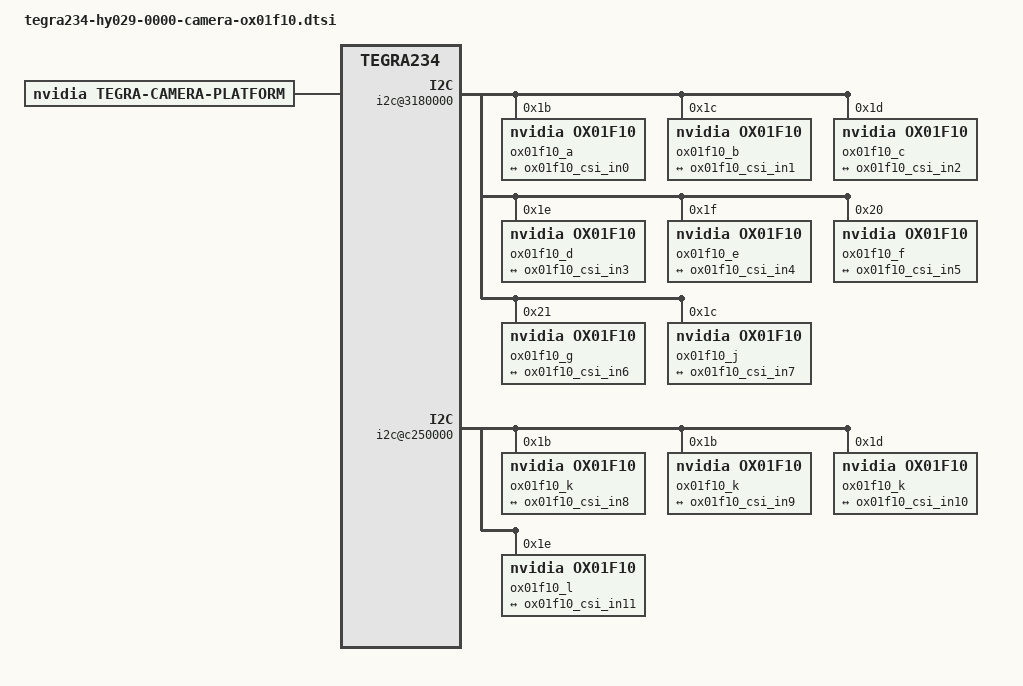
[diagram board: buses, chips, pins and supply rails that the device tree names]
/*
 * Copyright (c) 2018, NVIDIA CORPORATION.  All rights reserved.
 *
 * This program is free software; you can redistribute it and/or modify
 * it under the terms of the GNU General Public License as published by
 * the Free Software Foundation; either version 2 of the License, or
 * (at your option) any later version.
 *
 * This program is distributed in the hope that it will be useful, but WITHOUT
 * ANY WARRANTY; without even the implied warranty of MERCHANTABILITY or
 * FITNESS FOR A PARTICULAR PURPOSE.  See the GNU General Public License for
 * more details.
 *
 * You should have received a copy of the GNU General Public License
 * along with this program.  If not, see <http://www.gnu.org/licenses/>.
 */



/ {
		tegra-capture-vi {
			num-channels = <12>;
			ports {
				#address-cells = <1>;
				#size-cells = <0>;
            #if 1
				port@0 {
					reg = <0>;
					ox01f10_vi_in0: endpoint {
						devnode = "video1";
						vc-id = <0>;
						port-index = <0>;
						bus-width = <4>;
						remote-endpoint = <&ox01f10_csi_out0>;
					};
				};
				port@1 {
					reg = <1>;
					ox01f10_vi_in1: endpoint {
						devnode = "video0";
						vc-id = <1>;
						port-index = <0>;
						bus-width = <4>;
						remote-endpoint = <&ox01f10_csi_out1>;
					};
				};
				port@2 {
					reg = <2>;
					ox01f10_vi_in2: endpoint {
						devnode = "video3";
						vc-id = <2>;
						port-index = <0>;
						bus-width = <4>;
						remote-endpoint = <&ox01f10_csi_out2>;
					};
				};
				port@3 {
					reg = <3>;
					ox01f10_vi_in3: endpoint {
						devnode = "video2";
						vc-id = <3>;
						port-index = <0>;
						bus-width = <4>;
						remote-endpoint = <&ox01f10_csi_out3>;
					};
				};
            #endif
            #if 1
				port@4 {
					reg = <4>;
					ox01f10_vi_in4: endpoint {
						devnode = "video9";
						vc-id = <0>;
						port-index = <2>;
						bus-width = <4>;
						remote-endpoint = <&ox01f10_csi_out4>;
					};
				};
				port@5 {
					reg = <5>;
					ox01f10_vi_in5: endpoint {
						devnode = "video8";
						vc-id = <1>;
						port-index = <2>;
						bus-width = <4>;
						remote-endpoint = <&ox01f10_csi_out5>;
					};
				};	
				port@6 {
					reg = <6>;
					ox01f10_vi_in6: endpoint {
						devnode = "video11";
						vc-id = <2>;
						port-index = <2>;
						bus-width = <4>;
						remote-endpoint = <&ox01f10_csi_out6>;
					};
				};
				port@7 {
					reg = <7>;
					ox01f10_vi_in7: endpoint {
						devnode = "video10";
						vc-id = <3>;
						port-index = <2>;
						bus-width = <4>;
						remote-endpoint = <&ox01f10_csi_out7>;
					};
				};
				port@8 {
					reg = <8>;
					ox01f10_vi_in8: endpoint {
						devnode = "video5";
						vc-id = <0>;
						port-index = <4>;
						bus-width = <4>;
						remote-endpoint = <&ox01f10_csi_out8>;
					};
				};
				port@9 {
					reg = <9>;
					ox01f10_vi_in9: endpoint {
						devnode = "video4";
						vc-id = <1>;
						port-index = <4>;
						bus-width = <4>;
						remote-endpoint = <&ox01f10_csi_out9>;
					};
				};
				port@a {
					reg = <0xa>;
					ox01f10_vi_in10: endpoint {
						devnode = "video7";
						vc-id = <2>;
						port-index = <4>;
						bus-width = <4>;
						remote-endpoint = <&ox01f10_csi_out10>;
					};
				};
				port@b {
					reg = <0xb>;
					ox01f10_vi_in11: endpoint {
						devnode = "video6";
						vc-id = <3>;
						port-index = <4>;
						bus-width = <4>;
						remote-endpoint = <&ox01f10_csi_out11>;
					};
				};
            #endif
			};
		};

	host1x@13e00000 {
		nvcsi@15a00000 {
			num-channels = <12>;
			#address-cells = <1>;
			#size-cells = <0>;
        #if 1
			channel@0 {
				reg = <0>;
				ports {
					#address-cells = <1>;
					#size-cells = <0>;
					port@0 {
						reg = <0>;
						ox01f10_csi_in0: endpoint@0 {
							port-index = <0>;
							bus-width = <4>;
							remote-endpoint = <&ox01f10_ox01f10_out0>;
						};
					};

					port@1 {
						reg = <1>;
						ox01f10_csi_out0: endpoint@1 {
							remote-endpoint = <&ox01f10_vi_in0>;
						};
					};

				};
			};
			channel@1 {
				reg = <1>;
				ports {
					#address-cells = <1>;
					#size-cells = <0>;
					port@0 {
						reg = <0>;
						ox01f10_csi_in1: endpoint@2 {
							port-index = <0>;
							bus-width = <4>;
							remote-endpoint = <&ox01f10_ox01f10_out1>;
						};
					};
					port@1 {
						reg = <1>;
						ox01f10_csi_out1: endpoint@3 {
							remote-endpoint = <&ox01f10_vi_in1>;
						};
					};
				};
			};
			channel@2 {
				reg = <2>;
				ports {
					#address-cells = <1>;
					#size-cells = <0>;
					port@0 {
						reg = <0>;
						ox01f10_csi_in2: endpoint@4 {
							port-index = <0>;
							bus-width = <4>;
							remote-endpoint = <&ox01f10_ox01f10_out2>;
						};
					};
					port@1 {
						reg = <1>;
						ox01f10_csi_out2: endpoint@5 {
							remote-endpoint = <&ox01f10_vi_in2>;
						};
					};
				};
			};
			channel@3 {
				reg = <3>;
				ports {
					#address-cells = <1>;
					#size-cells = <0>;
					port@0 {
						reg = <0>;
						ox01f10_csi_in3: endpoint@6 {
							port-index = <0>;
							bus-width = <4>;
							remote-endpoint = <&ox01f10_ox01f10_out3>;
						};
					};
					port@1 {
						reg = <1>;
						ox01f10_csi_out3: endpoint@7 {
							remote-endpoint = <&ox01f10_vi_in3>;
						};
					};
				};
			};
        #endif
        #if 1
			channel@4 {
				reg = <4>;
				ports {
					#address-cells = <1>;
					#size-cells = <0>;
					port@0 {
						reg = <0>;
						ox01f10_csi_in4: endpoint@8 {
							port-index = <2>;
							bus-width = <4>;
							remote-endpoint = <&ox01f10_ox01f10_out4>;
						};
					};

					port@1 {
						reg = <1>;
						ox01f10_csi_out4: endpoint@9 {
							remote-endpoint = <&ox01f10_vi_in4>;
						};
					};

				};
			};
			channel@5 {
				reg = <5>;
				ports {
					#address-cells = <1>;
					#size-cells = <0>;
					port@0 {
						reg = <0>;
						ox01f10_csi_in5: endpoint@10 {
							port-index = <2>;
							bus-width = <4>;
							remote-endpoint = <&ox01f10_ox01f10_out5>;
						};
					};
					port@1 {
						reg = <1>;
						ox01f10_csi_out5: endpoint@11 {
							remote-endpoint = <&ox01f10_vi_in5>;
						};
					};
				};
			};
			channel@6 {
				reg = <6>;
				ports {
					#address-cells = <1>;
					#size-cells = <0>;
					port@0 {
						reg = <0>;
						ox01f10_csi_in6: endpoint@12 {
							port-index = <2>;
							bus-width = <4>;
							remote-endpoint = <&ox01f10_ox01f10_out6>;
						};
					};
					port@1 {
						reg = <1>;
						ox01f10_csi_out6: endpoint@13 {
							remote-endpoint = <&ox01f10_vi_in6>;
						};
					};
				};
			};
			channel@7 {
				reg = <7>;
				ports {
					#address-cells = <1>;
					#size-cells = <0>;
					port@0 {
						reg = <0>;
						ox01f10_csi_in7: endpoint@14 {
							port-index = <2>;
							bus-width = <4>;
							remote-endpoint = <&ox01f10_ox01f10_out7>;
						};
					};
					port@1 {
						reg = <1>;
						ox01f10_csi_out7: endpoint@15 {
							remote-endpoint = <&ox01f10_vi_in7>;
						};
					};
				};
			};
			channel@8 {
				reg = <8>;
				ports {
					#address-cells = <1>;
					#size-cells = <0>;
					port@0 {
						reg = <0>;
						ox01f10_csi_in8: endpoint@16 {
							port-index = <4>;
							bus-width = <4>;
							remote-endpoint = <&ox01f10_ox01f10_out8>;
						};
					};
					port@1 {
						reg = <1>;
						ox01f10_csi_out8: endpoint@17 {
							remote-endpoint = <&ox01f10_vi_in8>;
						};
					};
				};
			};
			channel@9 {
				reg = <9>;
				ports {
					#address-cells = <1>;
					#size-cells = <0>;
					port@0 {
						reg = <0>;
						ox01f10_csi_in9: endpoint@18 {
							port-index = <4>;
							bus-width = <4>;
							remote-endpoint = <&ox01f10_ox01f10_out9>;
						};
					};
					port@1 {
						reg = <1>;
						ox01f10_csi_out9: endpoint@19 {
							remote-endpoint = <&ox01f10_vi_in9>;
						};
					};
				};
			};
			channel@a {
				reg = <0xa>;
				ports {
					#address-cells = <1>;
					#size-cells = <0>;
					port@0 {
						reg = <0>;
						ox01f10_csi_in10: endpoint@20 {
							port-index = <4>;
							bus-width = <4>;
							remote-endpoint = <&ox01f10_ox01f10_out10>;
						};
					};
					port@1 {
						reg = <1>;
						ox01f10_csi_out10: endpoint@21 {
							remote-endpoint = <&ox01f10_vi_in10>;
						};
					};
				};
			};
			channel@b {
				reg = <0xb>;
				ports {
					#address-cells = <1>;
					#size-cells = <0>;
					port@0 {
						reg = <0>;
						ox01f10_csi_in11: endpoint@22 {
							port-index = <4>;
							bus-width = <4>;
							remote-endpoint = <&ox01f10_ox01f10_out11>;
						};
					};
					port@1 {
						reg = <1>;
						ox01f10_csi_out11: endpoint@23 {
							remote-endpoint = <&ox01f10_vi_in11>;
						};
					};
				};
			};
        #endif
		};

	};

	i2c@3180000 {

			ox01f10_a@1b {
				compatible = "nvidia,ox01f10";
				reg = <0x1b>;
				physical_w = "15.0";
				physical_h = "12.5";
				sensor_model ="ox01f10";
				post_crop_frame_drop = "0";
				use_decibel_gain = "true";
				delayed_gain = "true";
				//use_sensor_mode_id = "true";
				mode0 {
					mclk_khz = "27000";
					num_lanes = "4";
					phy_mode = "DPHY";
					tegra_sinterface = "serial_a";
					vc_id = "0";
					discontinuous_clk = "no";
					dpcm_enable = "false";
					cil_settletime = "0";
					mode_type = "yuv";
					pixel_phase = "yuyv";
					csi_pixel_bit_depth = "16";
					active_w = "1280";
					active_h = "960";
					//pixel_t = "yuv_yuyv16";
					readout_orientation = "0";
					line_length = "4400";
					inherent_gain = "1";
					pix_clk_hz = "148500000";
					serdes_pix_clk_hz = "150000000";
					min_framerate = "30";
					max_framerate = "30";
				};
				ports {
					#address-cells = <1>;
					#size-cells = <0>;
					port@0 {
						reg = <0>;
						ox01f10_ox01f10_out0: endpoint {
							vc-id = <0>;
							port-index = <0>;
							bus-width = <4>;
							remote-endpoint = <&ox01f10_csi_in0>;
							};
						};
					};
				gmsl-link {
					src-csi-port = "b";
					dst-csi-port = "b";
					serdes-csi-link = "a";
					csi-mode = "1x4";
					st-vc = <0>;
					vc-id = <0>;
					num-lanes = <4>;
					streams = "yuv422-8";
					};
				};
			ox01f10_b@1c {
				compatible = "nvidia,ox01f10";
				reg = <0x1c>;
				physical_w = "15.0";
				physical_h = "12.5";
				sensor_model ="ox01f10";
				post_crop_frame_drop = "0";
				use_decibel_gain = "true";
				delayed_gain = "true";
				//use_sensor_mode_id = "true";
				mode0 {
					mclk_khz = "27000";
					num_lanes = "4";
					phy_mode = "DPHY";
					tegra_sinterface = "serial_a";
					vc_id = "1";
					discontinuous_clk = "no";
					dpcm_enable = "false";
					cil_settletime = "0";
					mode_type = "yuv";
					pixel_phase = "yuyv";
					csi_pixel_bit_depth = "16";
					active_w = "1280";
					active_h = "960";
					//pixel_t = "yuv_yuyv16";
					readout_orientation = "0";
					line_length = "4400";
					inherent_gain = "1";
					pix_clk_hz = "148500000";
					serdes_pix_clk_hz = "150000000";
					min_framerate = "30";
					max_framerate = "30";
				};
				ports {
					#address-cells = <1>;
					#size-cells = <0>;
					port@0 {
						reg = <0>;
						ox01f10_ox01f10_out1: endpoint {
							vc-id = <1>;
							port-index = <0>;
							bus-width = <4>;
							remote-endpoint = <&ox01f10_csi_in1>;
							};
						};
					};
				gmsl-link {
					src-csi-port = "b";
					dst-csi-port = "b";
					serdes-csi-link = "b";
					csi-mode = "1x4";
					st-vc = <0>;
					vc-id = <1>;
					num-lanes = <4>;
					streams = "yuv422-8";
					};
				};

			ox01f10_c@1d {
				compatible = "nvidia,ox01f10";
				reg = <0x1d>;
				physical_w = "15.0";
				physical_h = "12.5";
				sensor_model ="ox01f10";
				post_crop_frame_drop = "0";
				use_decibel_gain = "true";
				delayed_gain = "true";
				//use_sensor_mode_id = "true";
				mode0 {
					mclk_khz = "27000";
					num_lanes = "4";
					phy_mode = "DPHY";
					tegra_sinterface = "serial_a";
					vc_id = "2";
					discontinuous_clk = "no";
					dpcm_enable = "false";
					cil_settletime = "0";
					mode_type = "yuv";
					pixel_phase = "yuyv";
					csi_pixel_bit_depth = "16";
					active_w = "1280";
					active_h = "960";
					//pixel_t = "yuv_yuyv16";
					readout_orientation = "0";
					line_length = "4400";
					inherent_gain = "1";
					pix_clk_hz = "148500000";
					serdes_pix_clk_hz = "150000000";
					min_framerate = "30";
					max_framerate = "30";
				};
				ports {
					#address-cells = <1>;
					#size-cells = <0>;
					port@0 {
						reg = <0>;
						ox01f10_ox01f10_out2: endpoint {
							vc-id = <2>;
							port-index = <0>;
							bus-width = <4>;
							remote-endpoint = <&ox01f10_csi_in2>;
							};
						};
					};
				gmsl-link {
					src-csi-port = "b";
					dst-csi-port = "b";
					serdes-csi-link = "c";
					csi-mode = "1x4";
					st-vc = <0>;
					vc-id = <2>;
					num-lanes = <4>;
					streams = "yuv422-8";
					};
				};

			ox01f10_d@1e{
				compatible = "nvidia,ox01f10";
				reg = <0x1e>;
				physical_w = "15.0";
				physical_h = "12.5";
				sensor_model ="ox01f10";
				post_crop_frame_drop = "0";
				use_decibel_gain = "true";
				delayed_gain = "true";
				//use_sensor_mode_id = "true";
				mode0 {
					mclk_khz = "27000";
					num_lanes = "4";
					phy_mode = "DPHY";
					tegra_sinterface = "serial_a";
					vc_id = "3";
					discontinuous_clk = "no";
					dpcm_enable = "false";
					cil_settletime = "0";
					mode_type = "yuv";
					pixel_phase = "yuyv";
					csi_pixel_bit_depth = "16";
					active_w = "1280";
					active_h = "960";
					//pixel_t = "yuv_yuyv16";
					readout_orientation = "0";
					line_length = "4400";
					inherent_gain = "1";
					pix_clk_hz = "148500000";
					serdes_pix_clk_hz = "150000000";
					min_framerate = "30";
					max_framerate = "30";
				};
				ports {
					#address-cells = <1>;
					#size-cells = <0>;
					port@0 {
						reg = <0>;
						ox01f10_ox01f10_out3: endpoint {
							vc-id = <3>;
							port-index = <0>;
							bus-width = <4>;
							remote-endpoint = <&ox01f10_csi_in3>;
							};
						};
					};
				gmsl-link {
					src-csi-port = "b";
					dst-csi-port = "b";
					serdes-csi-link = "d";
					csi-mode = "1x4";
					st-vc = <0>;
					vc-id = <3>;
					num-lanes = <4>;
					streams = "yuv422-8";
					};
				};
	};
    #if 1
	i2c@3180000 {
			ox01f10_e@1f {
				compatible = "nvidia,ox01f10";
				reg = <0x1f>;
				physical_w = "15.0";
				physical_h = "12.5";
				sensor_model ="ox01f10";
				post_crop_frame_drop = "0";
				use_decibel_gain = "true";
				delayed_gain = "true";
				//use_sensor_mode_id = "true";
				mode0 {
					mclk_khz = "27000";
					num_lanes = "4";
					phy_mode = "DPHY";
					tegra_sinterface = "serial_c";
					vc_id = "0";
					discontinuous_clk = "no";
					dpcm_enable = "false";
					cil_settletime = "0";
					mode_type = "yuv";
					pixel_phase = "yuyv";
					csi_pixel_bit_depth = "16";
					active_w = "1280";
					active_h = "960";
					//pixel_t = "yuv_yuyv16";
					readout_orientation = "0";
					line_length = "4400";
					inherent_gain = "1";
					pix_clk_hz = "148500000";
					serdes_pix_clk_hz = "150000000";
					min_framerate = "30";
					max_framerate = "30";
				};
				ports {
					#address-cells = <1>;
					#size-cells = <0>;
					port@0 {
						reg = <0>;
						ox01f10_ox01f10_out4: endpoint {
							vc-id = <0>;
							port-index = <2>;
							bus-width = <4>;
							remote-endpoint = <&ox01f10_csi_in4>;
							};
						};
					};
				gmsl-link {
					src-csi-port = "b";
					dst-csi-port = "b";
					serdes-csi-link = "a";
					csi-mode = "1x4";
					st-vc = <0>;
					vc-id = <0>;
					num-lanes = <4>;
					streams = "yuv422-8";
					};
				};
			ox01f10_f@20 {
				compatible = "nvidia,ox01f10";
				reg = <0x20>;
				physical_w = "15.0";
				physical_h = "12.5";
				sensor_model ="ox01f10";
				post_crop_frame_drop = "0";
				use_decibel_gain = "true";
				delayed_gain = "true";
				//use_sensor_mode_id = "true";
				mode0 {
					mclk_khz = "27000";
					num_lanes = "4";
					phy_mode = "DPHY";
					tegra_sinterface = "serial_c";
					vc_id = "1";
					discontinuous_clk = "no";
					dpcm_enable = "false";
					cil_settletime = "0";
					mode_type = "yuv";
					pixel_phase = "yuyv";
					csi_pixel_bit_depth = "16";
					active_w = "1280";
					active_h = "960";
					//pixel_t = "yuv_yuyv16";
					readout_orientation = "0";
					line_length = "4400";
					inherent_gain = "1";
					pix_clk_hz = "148500000";
					serdes_pix_clk_hz = "150000000";
					min_framerate = "30";
					max_framerate = "30";
				};
				ports {
					#address-cells = <1>;
					#size-cells = <0>;
					port@0 {
						reg = <0>;
						ox01f10_ox01f10_out5: endpoint {
							vc-id = <1>;
							port-index = <2>;
							bus-width = <4>;
							remote-endpoint = <&ox01f10_csi_in5>;
							};
						};
					};
				gmsl-link {
					src-csi-port = "b";
					dst-csi-port = "b";
					serdes-csi-link = "b";
					csi-mode = "1x4";
					st-vc = <0>;
					vc-id = <1>;
					num-lanes = <4>;
					streams = "yuv422-8";
					};
				};

			ox01f10_g@21 {
				compatible = "nvidia,ox01f10";
				reg = <0x21>;
				physical_w = "15.0";
				physical_h = "12.5";
				sensor_model ="ox01f10";
				post_crop_frame_drop = "0";
				use_decibel_gain = "true";
				delayed_gain = "true";
				//use_sensor_mode_id = "true";
				mode0 {
					mclk_khz = "27000";
					num_lanes = "4";
					phy_mode = "DPHY";
					tegra_sinterface = "serial_c";
					vc_id = "2";
					discontinuous_clk = "no";
					dpcm_enable = "false";
					cil_settletime = "0";
					mode_type = "yuv";
					pixel_phase = "yuyv";
					csi_pixel_bit_depth = "16";
					active_w = "1280";
					active_h = "960";
					//pixel_t = "yuv_yuyv16";
					readout_orientation = "0";
					line_length = "4400";
					inherent_gain = "1";
					pix_clk_hz = "148500000";
					serdes_pix_clk_hz = "150000000";
					min_framerate = "30";
					max_framerate = "30";
				};
				ports {
					#address-cells = <1>;
					#size-cells = <0>;
					port@0 {
						reg = <0>;
						ox01f10_ox01f10_out6: endpoint {
							vc-id = <2>;
							port-index = <2>;
							bus-width = <4>;
							remote-endpoint = <&ox01f10_csi_in6>;
							};
						};
					};
				gmsl-link {
					src-csi-port = "b";
					dst-csi-port = "b";
					serdes-csi-link = "c";
					csi-mode = "1x4";
					st-vc = <0>;
					vc-id = <2>;
					num-lanes = <4>;
					streams = "yuv422-8";
					};
				};

			ox01f10_j@22{
				compatible = "nvidia,ox01f10";
				reg = <0x1c>;
				physical_w = "15.0";
				physical_h = "12.5";
				sensor_model ="ox01f10";
				post_crop_frame_drop = "0";
				use_decibel_gain = "true";
				delayed_gain = "true";
				//use_sensor_mode_id = "true";
				mode0 {
					mclk_khz = "27000";
					num_lanes = "4";
					phy_mode = "DPHY";
					tegra_sinterface = "serial_c";
					vc_id = "3";
					discontinuous_clk = "no";
					dpcm_enable = "false";
					cil_settletime = "0";
					mode_type = "yuv";
					pixel_phase = "yuyv";
					csi_pixel_bit_depth = "16";
					active_w = "1280";
					active_h = "960";
					//pixel_t = "yuv_yuyv16";
					readout_orientation = "0";
					line_length = "4400";
					inherent_gain = "1";
					pix_clk_hz = "148500000";
					serdes_pix_clk_hz = "150000000";
					min_framerate = "30";
					max_framerate = "30";
				};
				ports {
					#address-cells = <1>;
					#size-cells = <0>;
					port@0 {
						reg = <0>;
						ox01f10_ox01f10_out7: endpoint {
							vc-id = <3>;
							port-index = <2>;
							bus-width = <4>;
							remote-endpoint = <&ox01f10_csi_in7>;
							};
						};
					};
				gmsl-link {
					src-csi-port = "b";
					dst-csi-port = "b";
					serdes-csi-link = "d";
					csi-mode = "1x4";
					st-vc = <0>;
					vc-id = <3>;
					num-lanes = <4>;
					streams = "yuv422-8";
					};
				};
	};
	i2c@c250000 {
			ox01f10_k@1b{
				compatible = "nvidia,ox01f10";
				reg = <0x1b>;
				physical_w = "15.0";
				physical_h = "12.5";
				sensor_model ="ox01f10";
				post_crop_frame_drop = "0";
				use_decibel_gain = "true";
				delayed_gain = "true";
				//use_sensor_mode_id = "true";
				mode0 {
					mclk_khz = "27000";
					num_lanes = "4";
					phy_mode = "DPHY";
					tegra_sinterface = "serial_e";
					vc_id = "0";
					discontinuous_clk = "no";
					dpcm_enable = "false";
					cil_settletime = "0";
					mode_type = "yuv";
					pixel_phase = "yuyv";
					csi_pixel_bit_depth = "16";
					active_w = "1280";
					active_h = "960";
					//pixel_t = "yuv_yuyv16";
					readout_orientation = "0";
					line_length = "4400";
					inherent_gain = "1";
					pix_clk_hz = "148500000";
					serdes_pix_clk_hz = "150000000";
					min_framerate = "30";
					max_framerate = "30";
				};
				ports {
					#address-cells = <1>;
					#size-cells = <0>;
					port@0 {
						reg = <0>;
						ox01f10_ox01f10_out8: endpoint {
							vc-id = <0>;
							port-index = <4>;
							bus-width = <4>;
							remote-endpoint = <&ox01f10_csi_in8>;
							};
						};
					};
				gmsl-link {
					src-csi-port = "b";
					dst-csi-port = "b";
					serdes-csi-link = "a";
					csi-mode = "1x4";
					st-vc = <0>;
					vc-id = <0>;
					num-lanes = <4>;
					streams = "yuv422-8";
					};
				};
			ox01f10_k@1c{
				compatible = "nvidia,ox01f10";
				reg = <0x1b>;
				physical_w = "15.0";
				physical_h = "12.5";
				sensor_model ="ox01f10";
				post_crop_frame_drop = "0";
				use_decibel_gain = "true";
				delayed_gain = "true";
				//use_sensor_mode_id = "true";
				mode0 {
					mclk_khz = "27000";
					num_lanes = "4";
					phy_mode = "DPHY";
					tegra_sinterface = "serial_e";
					vc_id = "1";
					discontinuous_clk = "no";
					dpcm_enable = "false";
					cil_settletime = "0";
					mode_type = "yuv";
					pixel_phase = "yuyv";
					csi_pixel_bit_depth = "16";
					active_w = "1280";
					active_h = "960";
					//pixel_t = "yuv_yuyv16";
					readout_orientation = "0";
					line_length = "4400";
					inherent_gain = "1";
					pix_clk_hz = "148500000";
					serdes_pix_clk_hz = "150000000";
					min_framerate = "30";
					max_framerate = "30";
				};
				ports {
					#address-cells = <1>;
					#size-cells = <0>;
					port@0 {
						reg = <0>;
						ox01f10_ox01f10_out9: endpoint {
							vc-id = <1>;
							port-index = <4>;
							bus-width = <4>;
							remote-endpoint = <&ox01f10_csi_in9>;
							};
						};
					};
				gmsl-link {
					src-csi-port = "b";
					dst-csi-port = "b";
					serdes-csi-link = "b";
					csi-mode = "1x4";
					st-vc = <0>;
					vc-id = <1>;
					num-lanes = <4>;
					streams = "yuv422-8";
					};
				};
			ox01f10_k@1d{
				compatible = "nvidia,ox01f10";
				reg = <0x1d>;
				physical_w = "15.0";
				physical_h = "12.5";
				sensor_model ="ox01f10";
				post_crop_frame_drop = "0";
				use_decibel_gain = "true";
				delayed_gain = "true";
				//use_sensor_mode_id = "true";
				mode0 {
					mclk_khz = "27000";
					num_lanes = "4";
					phy_mode = "DPHY";
					tegra_sinterface = "serial_e";
					vc_id = "2";
					discontinuous_clk = "no";
					dpcm_enable = "false";
					cil_settletime = "0";
					mode_type = "yuv";
					pixel_phase = "yuyv";
					csi_pixel_bit_depth = "16";
					active_w = "1280";
					active_h = "960";
					//pixel_t = "yuv_yuyv16";
					readout_orientation = "0";
					line_length = "4400";
					inherent_gain = "1";
					pix_clk_hz = "148500000";
					serdes_pix_clk_hz = "150000000";
					min_framerate = "30";
					max_framerate = "30";
				};
				ports {
					#address-cells = <1>;
					#size-cells = <0>;
					port@0 {
						reg = <0>;
						ox01f10_ox01f10_out10: endpoint {
							vc-id = <2>;
							port-index = <4>;
							bus-width = <4>;
							remote-endpoint = <&ox01f10_csi_in10>;
							};
						};
					};
				gmsl-link {
					src-csi-port = "b";
					dst-csi-port = "b";
					serdes-csi-link = "c";
					csi-mode = "1x4";
					st-vc = <0>;
					vc-id = <2>;
					num-lanes = <4>;
					streams = "yuv422-8";
					};
				};
			ox01f10_l@1e{
				compatible = "nvidia,ox01f10";
				reg = <0x1e>;
				physical_w = "15.0";
				physical_h = "12.5";
				sensor_model ="ox01f10";
				post_crop_frame_drop = "0";
				use_decibel_gain = "true";
				delayed_gain = "true";
				//use_sensor_mode_id = "true";
				mode0 {
					mclk_khz = "27000";
					num_lanes = "4";
					phy_mode = "DPHY";
					tegra_sinterface = "serial_e";
					vc_id = "3";
					discontinuous_clk = "no";
					dpcm_enable = "false";
					cil_settletime = "0";
					mode_type = "yuv";
					pixel_phase = "yuyv";
					csi_pixel_bit_depth = "16";
					active_w = "1280";
					active_h = "960";
					//pixel_t = "yuv_yuyv16";
					readout_orientation = "0";
					line_length = "4400";
					inherent_gain = "1";
					pix_clk_hz = "148500000";
					serdes_pix_clk_hz = "150000000";
					min_framerate = "30";
					max_framerate = "30";
				};
				ports {
					#address-cells = <1>;
					#size-cells = <0>;
					port@0 {
						reg = <0>;
						ox01f10_ox01f10_out11: endpoint {
							vc-id = <3>;
							port-index = <4>;
							bus-width = <4>;
							remote-endpoint = <&ox01f10_csi_in11>;
							};
						};
					};
				gmsl-link {
					src-csi-port = "b";
					dst-csi-port = "b";
					serdes-csi-link = "d";
					csi-mode = "1x4";
					st-vc = <0>;
					vc-id = <3>;
					num-lanes = <4>;
					streams = "yuv422-8";
					};
				};

	};
    #endif

};

/ {

	tegra-camera-platform {
		compatible = "nvidia, tegra-camera-platform";
		/**
		* Physical settings to calculate max ISO BW
		*
		* num_csi_lanes = <>;
		* Total number of CSI lanes when all cameras are active
		*
		* max_lane_speed = <>;
		* Max lane speed in Kbit/s
		*
		* min_bits_per_pixel = <>;
		* Min bits per pixel
		*
		* vi_peak_byte_per_pixel = <>;
		* Max byte per pixel for the VI ISO case
		*
		* vi_bw_margin_pct = <>;
		* Vi bandwidth margin in percentage
		*
		* max_pixel_rate = <>;
		* Max pixel rate in Kpixel/s for the ISP ISO case
		*
		* isp_peak_byte_per_pixel = <>;
		* Max byte per pixel for the ISP ISO case
		*
		* isp_bw_margin_pct = <>;
		* Isp bandwidth margin in percentage
		*/
		num_csi_lanes = <12>;
		max_lane_speed = <4000000>;
		min_bits_per_pixel = <10>;
		vi_peak_byte_per_pixel = <2>;
		vi_bw_margin_pct = <25>;
		isp_peak_byte_per_pixel = <5>;
		isp_bw_margin_pct = <25>;

		/**
		 * The general guideline for naming badge_info contains 3 parts, and is as follows,
		 * The first part is the camera_board_id for the module; if the module is in a FFD
		 * platform, then use the platform name for this part.
		 * The second part contains the position of the module, ex. "rear" or "front".
		 * The third part contains the last 6 characters of a part number which is found
		 * in the module's specsheet from the vender.
		 */
		modules {

			module0 {
				badge = "ar0231_bottomleft";
				position = "camera_0";
				orientation = "0";
				drivernode0 {
					pcl_id = "v4l2_sensor";
					devname = "ox01f10 2-001b";
					proc-device-tree = "/proc/device-tree/i2c@3180000/ox01f10_a@1b";
				};
			};
			module1 {
				badge = "ar0231_bottomright";
				position = "camera_1";
				orientation = "0";
				drivernode0 {
					pcl_id = "v4l2_sensor";
					devname = "ox01f10 2-001c";
					proc-device-tree = "/proc/device-tree/i2c@3180000/ox01f10_b@1c";
				};
			};
			module2 {
				badge = "ar0231_bottomleft";
				position = "camera_2";
				orientation = "0";
				drivernode0 {
					pcl_id = "v4l2_sensor";
					devname = "ox01f10 2-001d";
					proc-device-tree = "/proc/device-tree/i2c@3180000/ox01f10_c@1d";
				};
			};
			module3 {
				badge = "ar0231_bottomleft";
				position = "camera_3";
				orientation = "0";
				drivernode0 {
					pcl_id = "v4l2_sensor";
					devname = "ox01f10 2-001e";
					proc-device-tree = "/proc/device-tree/i2c@3180000/ox01f10_d@1e";
				};
			};
           #if 1
			module4 {
				badge = "ar0231_topleft";
				position = "camera_4";
				orientation = "0";
				drivernode0 {
					pcl_id = "v4l2_sensor";
					devname = "ox01f10 2-001f";
					proc-device-tree = "/proc/device-tree/i2c@3180000/ox01f10_e@1f";
				};
			};
			module5 {
				badge = "ar0231_topright";
				position = "camera_5";
				orientation = "0";
				drivernode0 {
					pcl_id = "v4l2_sensor";
					devname = "ox01f10 2-0020";
					proc-device-tree = "/proc/device-tree/i2c@3180000/ox01f10_f@20";
				};
			};
			module6 {
				badge = "ar0231_centerleft";
				position = "camera_6";
				orientation = "0";
				drivernode0 {
					pcl_id = "v4l2_sensor";
					devname = "ox01f10 2-0021";
					proc-device-tree = "/proc/device-tree/i2c@3180000/ox01f10_g@21";
				};
			};
			module7 {
				badge = "ar0231_centerright";
				position = "camera_7";
				orientation = "0";
				drivernode0 {
					pcl_id = "v4l2_sensor";
					devname = "ox01f10 2-0022";
					proc-device-tree = "/proc/device-tree/i2c@3180000/ox01f10_h@22";
				};
			};
			module8 {
				badge = "ar0231_topleft";
				position = "camera_8";
				orientation = "0";
				drivernode0 {
					pcl_id = "v4l2_sensor";
					devname = "ox01f10 7-001b";
					proc-device-tree = "/proc/device-tree/i2c@c250000/ox01f10_i@1b";
				};
			};
			module9 {
				badge = "ar0231_topright";
				position = "camera_9";
				orientation = "0";
				drivernode0 {
					pcl_id = "v4l2_sensor";
					devname = "ox01f10 7-001c";
					proc-device-tree = "/proc/device-tree/i2c@c250000/ox01f10_j@1c";
				};
			};
			module10 {
				badge = "ar0231_centerleft";
				position = "camera_10";
				orientation = "0";
				drivernode0 {
					pcl_id = "v4l2_sensor";
					devname = "ox01f10 7-001d";
					proc-device-tree = "/proc/device-tree/i2c@c250000/ox01f10_k@1d";
				};
			};
			module11 {
				badge = "ar0231_centerright";
				position = "camera_11";
				orientation = "0";
				drivernode0 {
					pcl_id = "v4l2_sensor";
					devname = "ox01f10 7-001e";
					proc-device-tree = "/proc/device-tree/i2c@c250000/ox01f10_l@1e";
				};
			};
            #endif
		};
	};
};
